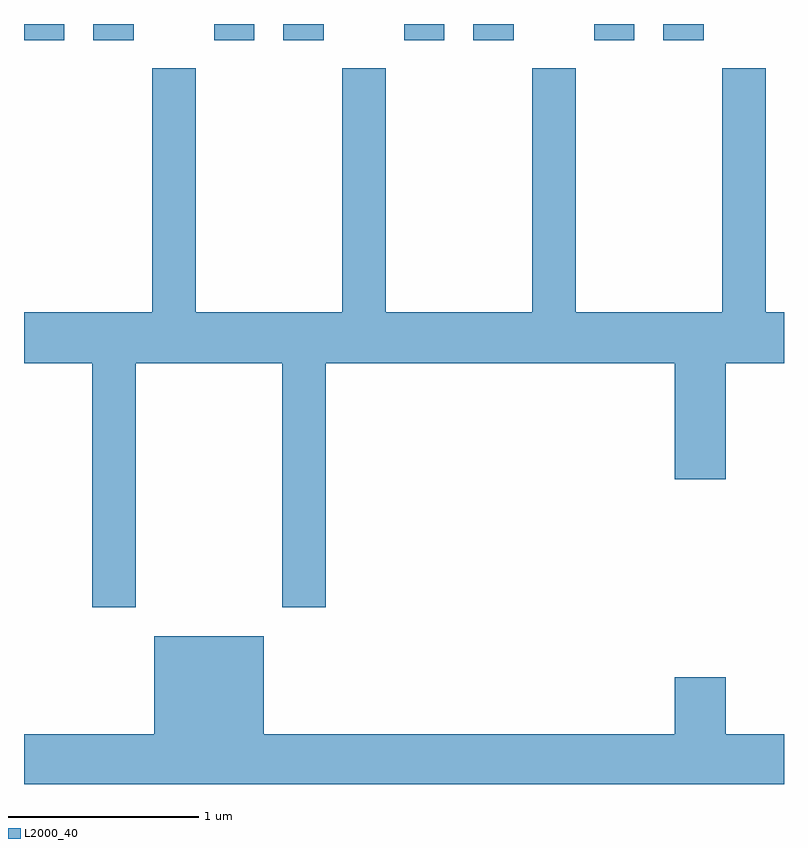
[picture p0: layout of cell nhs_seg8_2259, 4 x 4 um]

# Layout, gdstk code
import gdstk
lib = gdstk.Library(unit=1e-6, precision=1e-09)
def R(c, l, rs):  # rectangles x0, y0, x1, y1
    for r in rs: c.add(gdstk.rectangle(r[:2], r[2:], *l))
def P(c, l, *ps):  # polygons
    for p in ps: c.add(gdstk.Polygon(p, *l))
L2000_40 = (2000, 40)

nhs_seg8_2259 = lib.new_cell('nhs_seg8_2259')
R(nhs_seg8_2259, L2000_40, [(251.611,1920.256,251.824,1920.342), (251.976,1920.256,252.189,1920.342), (252.611,1920.256,252.824,1920.342), (252.976,1920.256,253.189,1920.342), (253.611,1920.256,253.824,1920.342), (253.976,1920.256,254.189,1920.342), (254.611,1920.256,254.824,1920.342), (254.976,1920.256,255.189,1920.342)])
P(nhs_seg8_2259, L2000_40, [(252.199,1918.556),(252.971,1918.556),(252.971,1917.271),(253.199,1917.271),(253.199,1918.556),(255.036,1918.556),(255.036,1917.946),(255.304,1917.946),(255.304,1918.556),(255.611,1918.556),(255.611,1918.824),(255.514,1918.824),(255.514,1920.109),(255.286,1920.109),(255.286,1918.824),(254.514,1918.824),(254.514,1920.109),(254.286,1920.109),(254.286,1918.824),(253.514,1918.824),(253.514,1920.109),(253.286,1920.109),(253.286,1918.824),(252.514,1918.824),(252.514,1920.109),(252.286,1920.109),(252.286,1918.824),(251.611,1918.824),(251.611,1918.556),(251.971,1918.556),(251.971,1917.271),(252.199,1917.271)],
  [(255.611,1916.604),(255.304,1916.604),(255.304,1916.904),(255.036,1916.904),(255.036,1916.604),(252.874,1916.604),(252.874,1917.119),(252.296,1917.119),(252.296,1916.604),(251.611,1916.604),(251.611,1916.342),(255.611,1916.342)])

lib.write_gds('nhs_seg8_2259.gds')
